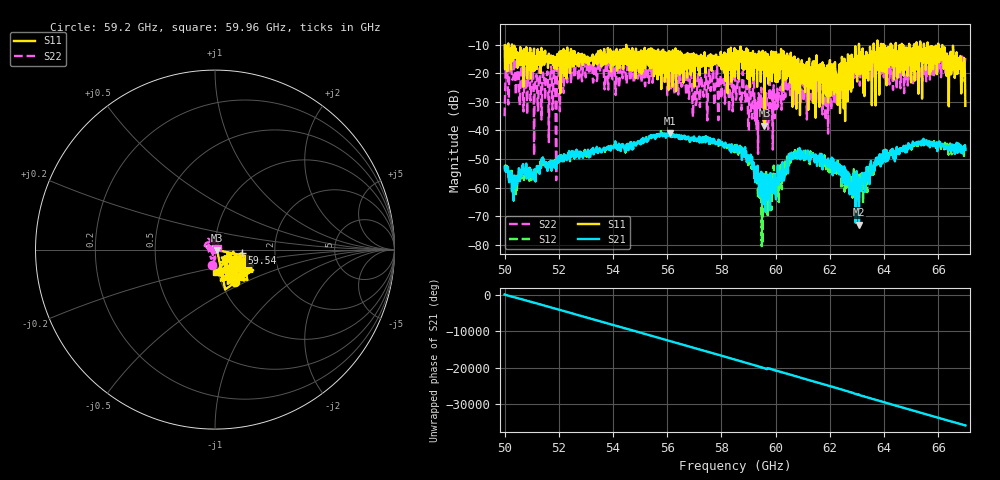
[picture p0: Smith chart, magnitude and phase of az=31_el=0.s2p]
!Created with skrf (http://scikit-rf.org).
# GHz S RI R 50.0
!freq ReS11 ImS11 ReS21 ImS21 ReS12 ImS12 ReS22 ImS22
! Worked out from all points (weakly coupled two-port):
!   1001 points, 50 GHz to 67 GHz, reference 50 ohm
!   highest |S21| = -40.93 dB at 56.1 GHz (marker M1); lowest = -73.0 dB at 63.07 GHz (marker M2)
!   lowest |S11| = -38.3 dB at 59.59 GHz (marker M3), VSWR 1.02, Z = 51.2 - j0.301 ohm
!   |S11| at or under -10 dB: 50.27 GHz to 63.07 GHz (12.8 GHz wide, 22.6 % of centre); 63.08 GHz to 63.62 GHz (540.7 MHz wide, 0.854 % of centre); 66.01 GHz to end of sweep (the widest 3 of 18)
!   |S22| runs from -57.4 to -14.1 dB; largest |S21 - S12| = 0.0022
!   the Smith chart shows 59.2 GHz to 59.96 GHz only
!   S11 on the Smith chart (normalised r, x): 59.2 GHz: 1.17, -0.43; 59.54 GHz: 1.35, -0.05; 59.96 GHz: 0.98, -0.25
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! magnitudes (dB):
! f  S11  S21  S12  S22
! 50 GHz  -10.2  -52.9  -52.0  -35.0
! 50.29 GHz  -15.7  -55.7  -57.5  -22.2
! 51.16 GHz  -14.2  -54.2  -54.4  -21.7
! 51.77 GHz  -15.0  -50.8  -50.9  -32.8
! 51.84 GHz  -18.4  -51.6  -52.5  -17.1
! 52.16 GHz  -13.4  -50.5  -49.9  -25.2
! 52.84 GHz  -14.4  -47.7  -48.1  -21.6
! 55.68 GHz  -13.7  -41.7  -41.6  -19.9
! 56.1 GHz  -19.4  -40.9  -41.3  -21.5
! 58.5 GHz  -21.3  -46.6  -44.6  -21.9
! 59.2 GHz  -13.5  -53.2  -54.2  -20.9
! 59.54 GHz  -16.5  -63.9  -58.7  -37.1
! 59.59 GHz  -38.3  -63.2  -63.0  -34.8
! 59.96 GHz  -18.1  -55.5  -58.3  -35.8
! 60.56 GHz  -12.8  -49.0  -49.6  -24.6
! 61.34 GHz  -24.6  -48.1  -49.0  -26.3
! 62 GHz  -15.4  -53.1  -54.5  -26.4
! 62.56 GHz  -36.7  -54.0  -53.5  -20.3
! 63.07 GHz  -9.7  -73.0  -56.4  -17.7
! 64.18 GHz  -17.9  -49.9  -48.9  -19.5
! 66.08 GHz  -15.1  -44.6  -45.3  -16.0
! 67 GHz  -31.4  -46.7  -47.2  -14.7
